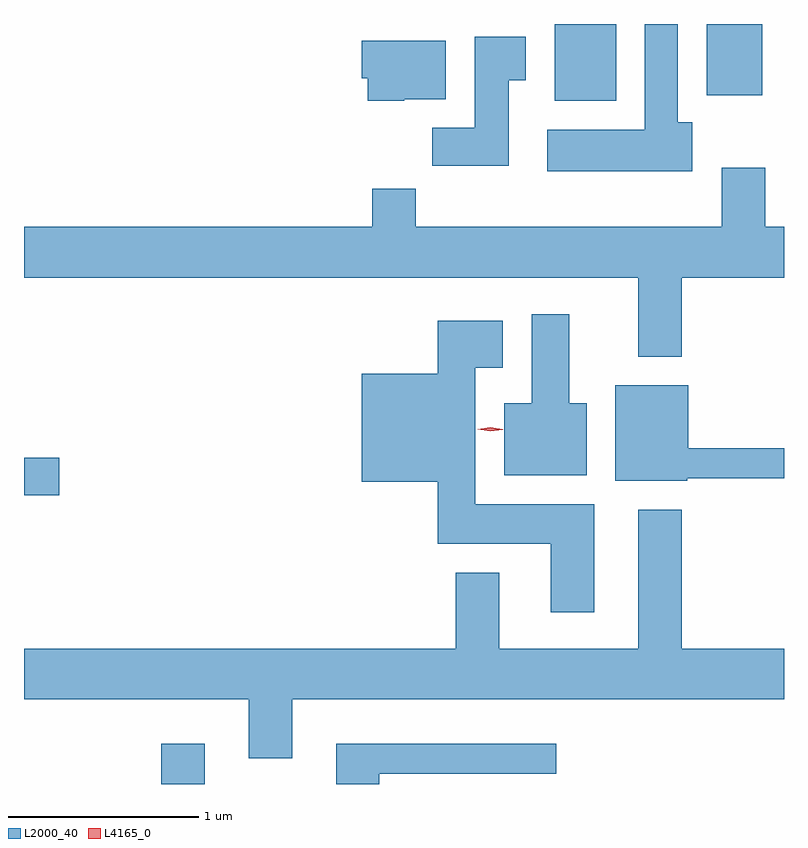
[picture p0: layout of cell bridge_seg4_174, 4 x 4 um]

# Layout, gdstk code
import gdstk
lib = gdstk.Library(unit=1e-6, precision=1e-09)
def R(c, l, rs):  # rectangles x0, y0, x1, y1
    for r in rs: c.add(gdstk.rectangle(r[:2], r[2:], *l))
def P(c, l, *ps):  # polygons
    for p in ps: c.add(gdstk.Polygon(p, *l))
L2000_40 = (2000, 40)
L4165_0 = (4165, 0)

bridge_seg4_174 = lib.new_cell('bridge_seg4_174')
R(bridge_seg4_174, L2000_40, [(944.591,1278.751,944.819,1278.964), (943.868,1280.271,944.054,1280.469), (946.661,1282.346,946.984,1282.751), (947.461,1282.376,947.754,1282.751)])
P(bridge_seg4_174, L2000_40, [(947.384,1282.234),(947.309,1282.234),(947.309,1282.751),(947.136,1282.751),(947.136,1282.194),(946.621,1282.194),(946.621,1281.976),(947.384,1281.976)],
  [(946.419,1282.456),(946.509,1282.456),(946.509,1282.684),(946.241,1282.684),(946.241,1282.204),(946.016,1282.204),(946.016,1282.006),(946.419,1282.006)],
  [(945.87,1282.356),(946.089,1282.356),(946.089,1282.664),(945.646,1282.664),(945.646,1282.466),(945.676,1282.466),(945.676,1282.346),(945.87,1282.346)],
  [(947.329,1281.416),(947.868,1281.416),(947.868,1281.684),(947.769,1281.684),(947.769,1281.994),(947.541,1281.994),(947.541,1281.684),(945.929,1281.684),(945.929,1281.884),(945.701,1281.884),(945.701,1281.684),(943.868,1281.684),(943.868,1281.416),(947.101,1281.416),(947.101,1281.001),(947.329,1281.001)],
  [(946.829,1280.754),(946.739,1280.754),(946.739,1281.224),(946.541,1281.224),(946.541,1280.754),(946.396,1280.754),(946.396,1280.376),(946.829,1280.376)],
  [(946.869,1280.224),(946.244,1280.224),(946.244,1280.941),(946.389,1280.941),(946.389,1281.189),(946.046,1281.189),(946.046,1280.909),(945.646,1280.909),(945.646,1280.341),(946.046,1280.341),(946.046,1280.016),(946.641,1280.016),(946.641,1279.656),(946.869,1279.656)],
  [(947.36,1280.361),(947.868,1280.361),(947.868,1280.519),(947.364,1280.519),(947.364,1280.849),(946.981,1280.849),(946.981,1280.346),(947.36,1280.346)],
  [(945.279,1279.196),(947.868,1279.196),(947.868,1279.464),(947.329,1279.464),(947.329,1280.194),(947.101,1280.194),(947.101,1279.464),(946.369,1279.464),(946.369,1279.864),(946.141,1279.864),(946.141,1279.464),(943.868,1279.464),(943.868,1279.196),(945.051,1279.196),(945.051,1278.886),(945.279,1278.886)],
  [(945.739,1278.806),(946.668,1278.806),(946.668,1278.964),(945.511,1278.964),(945.511,1278.751),(945.739,1278.751)])
P(bridge_seg4_174, L4165_0, [(946.322,1280.608),(946.256,1280.618),(946.256,1280.619),(946.256,1280.619),(946.322,1280.628),(946.387,1280.617),(946.388,1280.616),(946.387,1280.616)])

lib.write_gds('bridge_seg4_174.gds')
